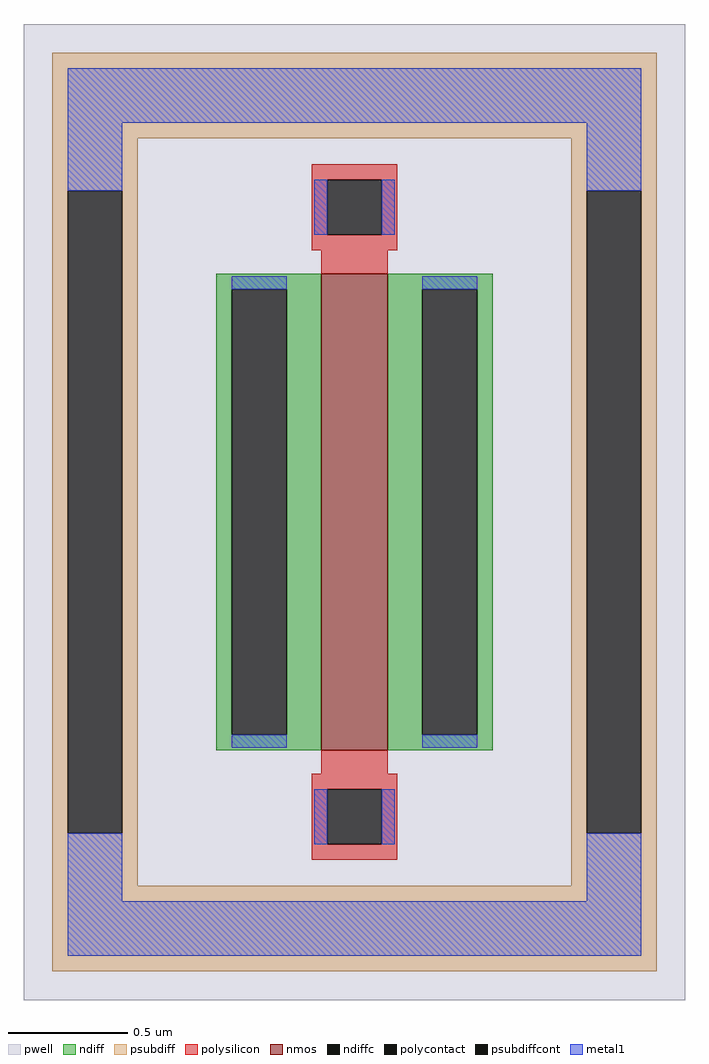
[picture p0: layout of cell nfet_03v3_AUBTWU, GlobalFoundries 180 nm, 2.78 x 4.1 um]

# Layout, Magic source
magic
tech gf180mcuD
magscale 1 10
<< pwell >>
rect -278 -410 278 410
<< nmos >>
rect -28 -200 28 200
<< ndiff >>
rect -116 187 -28 200
rect -116 -187 -103 187
rect -57 -187 -28 187
rect -116 -200 -28 -187
rect 28 187 116 200
rect 28 -187 57 187
rect 103 -187 116 187
rect 28 -200 116 -187
<< ndiffc >>
rect -103 -187 -57 187
rect 57 -187 103 187
<< psubdiff >>
rect -254 314 254 386
rect -254 270 -182 314
rect -254 -270 -241 270
rect -195 -270 -182 270
rect 182 270 254 314
rect -254 -314 -182 -270
rect 182 -270 195 270
rect 241 -270 254 270
rect 182 -314 254 -270
rect -254 -386 254 -314
<< psubdiffcont >>
rect -241 -270 -195 270
rect 195 -270 241 270
<< polysilicon >>
rect -36 279 36 292
rect -36 233 -23 279
rect 23 233 36 279
rect -36 220 36 233
rect -28 200 28 220
rect -28 -220 28 -200
rect -36 -233 36 -220
rect -36 -279 -23 -233
rect 23 -279 36 -233
rect -36 -292 36 -279
<< polycontact >>
rect -23 233 23 279
rect -23 -279 23 -233
<< metal1 >>
rect -241 327 241 373
rect -241 270 -195 327
rect -34 233 -23 279
rect 23 233 34 279
rect 195 270 241 327
rect -103 187 -57 198
rect -103 -198 -57 -187
rect 57 187 103 198
rect 57 -198 103 -187
rect -241 -327 -195 -270
rect -34 -279 -23 -233
rect 23 -279 34 -233
rect 195 -327 241 -270
rect -241 -373 241 -327
<< properties >>
string FIXED_BBOX -218 -350 218 350
string gencell nfet_03v3
string library gf180mcu
string parameters w 2.0 l 0.28 m 1 nf 1 diffcov 100 polycov 100 guard 1 glc 1 grc 1 gtc 0 gbc 0 tbcov 100 rlcov 100 topc 1 botc 1 poverlap 0 doverlap 1 lmin 0.28 wmin 0.22 class mosfet full_metal 1 compatible {nfet_03v3 nfet_06v0 nfet_06v0_nvt} ad {int((nf+1)/2) * W/nf * 0.18u} as {int((nf+2)/2) * W/nf * 0.18u} pd {2*int((nf+1)/2) * (W/nf + 0.18u)} ps {2*int((nf+2)/2) * (W/nf + 0.18u)} nrd {0.18u / W} nrs {0.18u / W} sa 0 sb 0 sd 0
<< end >>
